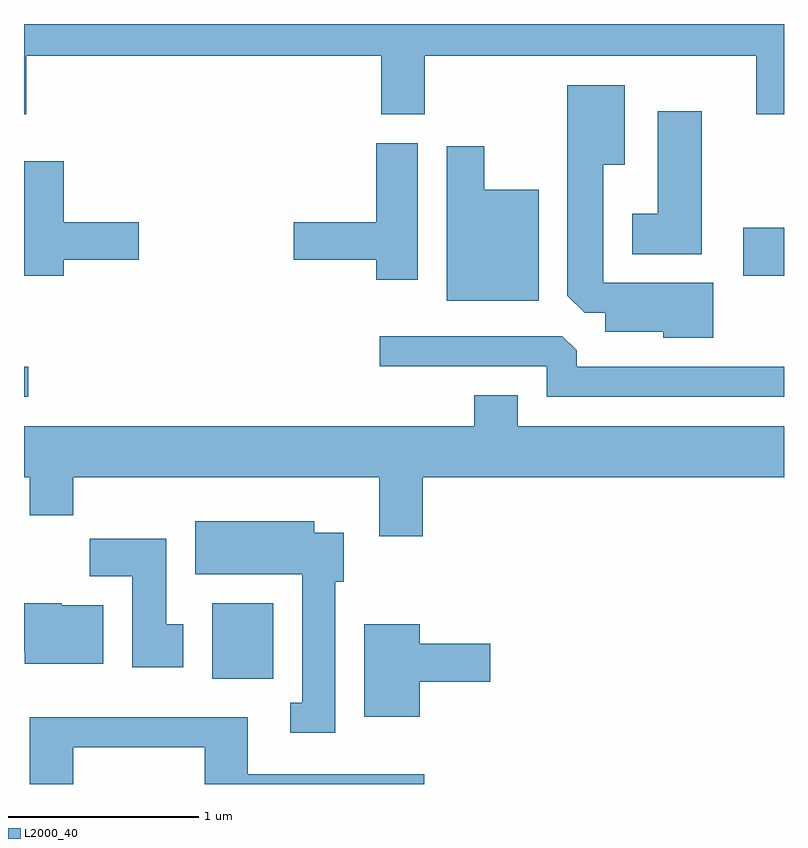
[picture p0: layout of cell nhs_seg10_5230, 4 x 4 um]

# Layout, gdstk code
import gdstk
lib = gdstk.Library(unit=1e-6, precision=1e-09)
def R(c, l, rs):  # rectangles x0, y0, x1, y1
    for r in rs: c.add(gdstk.rectangle(r[:2], r[2:], *l))
def P(c, l, *ps):  # polygons
    for p in ps: c.add(gdstk.Polygon(p, *l))
L2000_40 = (2000, 40)

nhs_seg10_5230 = lib.new_cell('nhs_seg10_5230')
R(nhs_seg10_5230, L2000_40, [(340.601,2115.076,340.924,2115.474), (339.611,2116.561,339.633,2116.719), (343.396,2117.196,343.611,2117.449)])
P(nhs_seg10_5230, L2000_40, [(339.624,2118.356),(341.491,2118.356),(341.491,2118.046),(341.719,2118.046),(341.719,2118.356),(343.466,2118.356),(343.466,2118.046),(343.611,2118.046),(343.611,2118.522),(339.611,2118.522),(339.611,2118.046),(339.624,2118.046)],
  [(343.239,2117.159),(342.659,2117.159),(342.659,2117.781),(342.774,2117.781),(342.774,2118.199),(342.471,2118.199),(342.471,2117.092),(342.562,2117.001),(342.671,2117.001),(342.671,2116.901),(342.976,2116.901),(342.976,2116.871),(343.239,2116.871)],
  [(343.179,2118.064),(342.946,2118.064),(342.946,2117.524),(342.811,2117.524),(342.811,2117.311),(343.179,2117.311)],
  [(341.684,2117.894),(341.466,2117.894),(341.466,2117.479),(341.031,2117.479),(341.031,2117.281),(341.466,2117.281),(341.466,2117.176),(341.684,2117.176)],
  [(342.319,2117.649),(342.034,2117.649),(342.034,2117.879),(341.836,2117.879),(341.836,2117.066),(342.319,2117.066)],
  [(339.819,2117.281),(340.214,2117.281),(340.214,2117.479),(339.819,2117.479),(339.819,2117.799),(339.611,2117.799),(339.611,2117.196),(339.819,2117.196)],
  [(343.611,2116.719),(342.519,2116.719),(342.519,2116.804),(342.444,2116.879),(341.483,2116.879),(341.483,2116.721),(342.361,2116.721),(342.361,2116.561),(343.611,2116.561)],
  [(341.709,2116.136),(343.611,2116.136),(343.611,2116.404),(342.209,2116.404),(342.209,2116.569),(341.981,2116.569),(341.981,2116.404),(339.611,2116.404),(339.611,2116.136),(339.641,2116.136),(339.641,2115.936),(339.869,2115.936),(339.869,2116.136),(341.481,2116.136),(341.481,2115.826),(341.709,2115.826)],
  [(341.249,2115.586),(341.294,2115.586),(341.294,2115.844),(341.139,2115.844),(341.139,2115.904),(340.511,2115.904),(340.511,2115.626),(341.076,2115.626),(341.076,2114.949),(341.013,2114.949),(341.013,2114.791),(341.249,2114.791)],
  [(340.449,2115.364),(340.359,2115.364),(340.359,2115.814),(339.956,2115.814),(339.956,2115.616),(340.181,2115.616),(340.181,2115.136),(340.449,2115.136)],
  [(340.029,2115.464),(339.81,2115.464),(339.81,2115.474),(339.611,2115.474),(339.611,2115.216),(339.616,2115.216),(339.616,2115.156),(340.029,2115.156)],
  [(341.694,2115.061),(342.064,2115.061),(342.064,2115.259),(341.694,2115.259),(341.694,2115.364),(341.401,2115.364),(341.401,2114.876),(341.694,2114.876)],
  [(339.869,2114.716),(340.561,2114.716),(340.561,2114.522),(341.718,2114.522),(341.718,2114.574),(340.789,2114.574),(340.789,2114.874),(339.641,2114.874),(339.641,2114.522),(339.869,2114.522)])

lib.write_gds('nhs_seg10_5230.gds')
